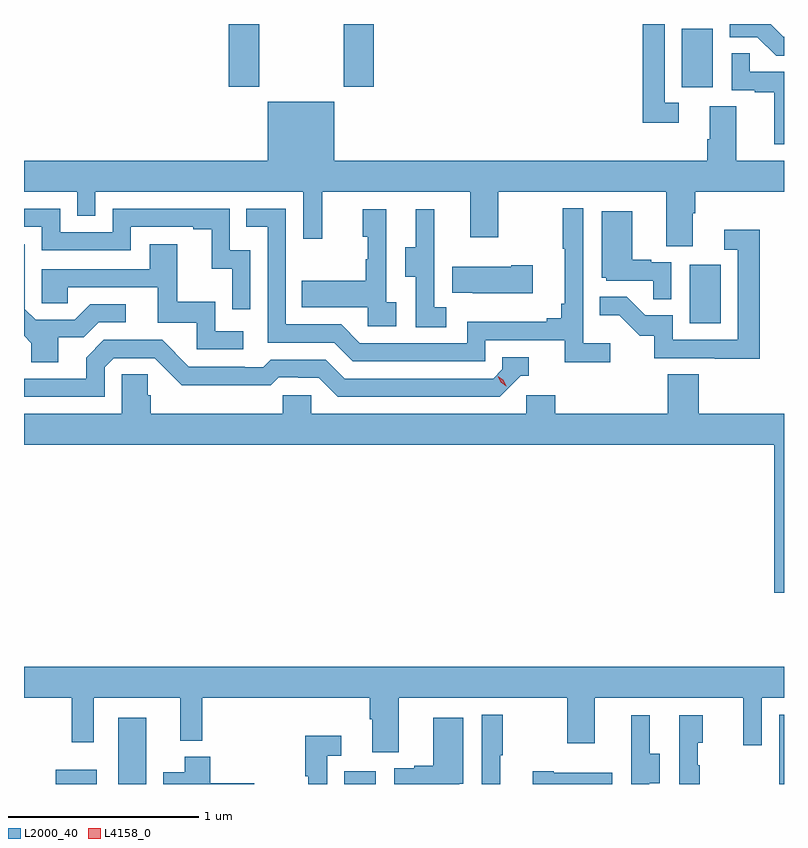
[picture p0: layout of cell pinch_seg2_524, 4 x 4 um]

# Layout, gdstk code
import gdstk
lib = gdstk.Library(unit=1e-6, precision=1e-09)
def R(c, l, rs):  # rectangles x0, y0, x1, y1
    for r in rs: c.add(gdstk.rectangle(r[:2], r[2:], *l))
def P(c, l, *ps):  # polygons
    for p in ps: c.add(gdstk.Polygon(p, *l))
L2000_40 = (2000, 40)
L4158_0 = (4158, 0)

pinch_seg2_524 = lib.new_cell('pinch_seg2_524')
R(pinch_seg2_524, L2000_40, [(982.76,595.235,982.975,595.309), (983.087,595.235,983.236,595.585), (984.278,595.235,984.442,595.303), (986.568,595.235,986.592,595.599), (986.096,597.66,986.26,597.967), (986.054,598.902,986.218,599.209), (983.669,598.905,983.829,599.235), (984.274,598.905,984.434,599.235)])
P(pinch_seg2_524, L2000_40, [(986.592,599.167),(986.589,599.167),(986.521,599.235),(986.307,599.235),(986.307,599.166),(986.452,599.166),(986.55,599.068),(986.592,599.068)],
  [(986.038,598.821),(985.965,598.821),(985.965,599.235),(985.849,599.235),(985.849,598.716),(986.038,598.716)],
  [(986.592,598.983),(986.411,598.983),(986.411,599.081),(986.316,599.081),(986.316,598.887),(986.437,598.887),(986.437,598.875),(986.54,598.875),(986.54,598.601),(986.592,598.601)],
  [(986.113,598.24),(986.126,598.24),(986.126,598.352),(986.592,598.352),(986.592,598.516),(986.341,598.516),(986.341,598.802),(986.201,598.802),(986.201,598.628),(986.189,598.628),(986.189,598.516),(984.226,598.516),(984.226,598.825),(983.876,598.825),(983.876,598.516),(982.592,598.516),(982.592,598.352),(982.872,598.352),(982.872,598.225),(982.968,598.225),(982.968,598.352),(984.063,598.352),(984.063,598.104),(984.161,598.104),(984.161,598.352),(984.941,598.352),(984.941,598.113),(985.089,598.113),(985.089,598.352),(985.973,598.352),(985.973,598.066),(986.113,598.066)],
  [(985.678,597.556),(985.536,597.556),(985.536,598.264),(985.428,598.264),(985.428,598.051),(985.439,598.051),(985.439,597.763),(985.42,597.763),(985.42,597.686),(985.343,597.686),(985.343,597.667),(984.924,597.667),(984.924,597.555),(984.36,597.555),(984.261,597.654),(983.97,597.654),(983.97,598.263),(983.761,598.263),(983.761,598.167),(983.874,598.167),(983.874,597.558),(984.224,597.558),(984.323,597.459),(985.02,597.459),(985.02,597.57),(985.439,597.57),(985.439,597.454),(985.678,597.454)],
  [(983.784,598.044),(983.676,598.044),(983.676,598.263),(983.058,598.263),(983.058,598.14),(982.782,598.14),(982.782,598.263),(982.592,598.263),(982.592,598.167),(982.686,598.167),(982.686,598.044),(983.154,598.044),(983.154,598.167),(983.483,598.167),(983.483,598.155),(983.579,598.155),(983.579,597.947),(983.688,597.947),(983.688,597.735),(983.784,597.735)],
  [(984.814,597.743),(984.75,597.743),(984.75,598.047),(984.752,598.047),(984.752,598.261),(984.653,598.261),(984.653,598.059),(984.599,598.059),(984.599,597.904),(984.654,597.904),(984.654,597.64),(984.814,597.64)],
  [(984.55,597.77),(984.498,597.77),(984.498,598.261),(984.374,598.261),(984.374,598.116),(984.4,598.116),(984.4,597.998),(984.39,597.998),(984.39,597.883),(984.055,597.883),(984.055,597.743),(984.402,597.743),(984.402,597.645),(984.55,597.645)],
  [(985.998,597.981),(985.892,597.981),(985.892,597.994),(985.792,597.994),(985.792,598.249),(985.634,598.249),(985.634,597.9),(985.656,597.9),(985.656,597.885),(985.903,597.885),(985.903,597.787),(985.998,597.787)],
  [(986.465,598.153),(986.277,598.153),(986.277,598.047),(986.349,598.047),(986.349,597.573),(986.007,597.573),(986.007,597.702),(985.863,597.702),(985.765,597.8),(985.621,597.8),(985.621,597.701),(985.725,597.701),(985.832,597.594),(985.909,597.594),(985.909,597.477),(986.227,597.477),(986.227,597.472),(986.465,597.472)],
  [(983.746,597.618),(983.598,597.618),(983.598,597.772),(983.399,597.772),(983.399,598.075),(983.255,598.075),(983.255,597.945),(982.686,597.945),(982.686,597.765),(982.823,597.765),(982.823,597.849),(983.297,597.849),(983.297,597.663),(983.502,597.663),(983.502,597.522),(983.746,597.522)],
  [(982.771,597.586),(982.906,597.586),(982.986,597.666),(983.128,597.666),(983.128,597.759),(982.94,597.759),(982.859,597.678),(982.653,597.678),(982.596,597.735),(982.596,598.075),(982.592,598.075),(982.592,597.595),(982.631,597.556),(982.631,597.454),(982.771,597.454)],
  [(985.27,597.966),(985.157,597.966),(985.157,597.958),(984.847,597.958),(984.847,597.821),(984.955,597.821),(984.955,597.818),(985.27,597.818)],
  [(983.016,597.429),(983.064,597.477),(983.28,597.477),(983.422,597.335),(983.658,597.335),(983.658,597.333),(983.891,597.333),(983.933,597.375),(984.036,597.375),(984.036,597.372),(984.143,597.372),(984.242,597.273),(985.095,597.273),(985.206,597.384),(985.249,597.384),(985.249,597.48),(985.11,597.48),(985.11,597.417),(985.062,597.369),(984.279,597.369),(984.18,597.468),(983.891,597.468),(983.852,597.429),(983.753,597.429),(983.753,597.432),(983.46,597.432),(983.319,597.573),(983.013,597.573),(982.919,597.479),(982.919,597.369),(982.592,597.369),(982.592,597.273),(983.016,597.273)],
  [(986.592,597.184),(986.144,597.184),(986.144,597.392),(985.979,597.392),(985.979,597.184),(985.388,597.184),(985.388,597.282),(985.236,597.282),(985.236,597.184),(984.105,597.184),(984.105,597.282),(983.955,597.282),(983.955,597.184),(983.258,597.184),(983.258,597.282),(983.243,597.282),(983.243,597.392),(983.106,597.392),(983.106,597.184),(982.592,597.184),(982.592,597.02),(986.54,597.02),(986.54,596.241),(986.592,596.241)],
  [(984.565,595.688),(985.45,595.688),(985.45,595.449),(985.597,595.449),(985.597,595.688),(986.378,595.688),(986.378,595.44),(986.475,595.44),(986.475,595.688),(986.592,595.688),(986.592,595.852),(982.592,595.852),(982.592,595.688),(982.843,595.688),(982.843,595.455),(982.959,595.455),(982.959,595.688),(983.414,595.688),(983.414,595.463),(983.531,595.463),(983.531,595.688),(984.413,595.688),(984.413,595.576),(984.425,595.576),(984.425,595.402),(984.565,595.402)],
  [(985.099,595.387),(985.111,595.387),(985.111,595.6),(985.002,595.6),(985.002,595.235),(985.099,595.235)],
  [(985.884,595.24),(985.939,595.24),(985.939,595.395),(985.885,595.395),(985.885,595.597),(985.787,595.597),(985.787,595.383),(985.788,595.383),(985.788,595.235),(985.884,595.235)],
  [(986.149,595.334),(986.139,595.334),(986.139,595.452),(986.164,595.452),(986.164,595.597),(986.04,595.597),(986.04,595.235),(986.149,595.235)],
  [(984.882,595.236),(984.904,595.236),(984.904,595.585),(984.746,595.585),(984.746,595.33),(984.647,595.33),(984.647,595.317),(984.54,595.317),(984.54,595.235),(984.882,595.235)],
  [(984.189,595.383),(984.262,595.383),(984.262,595.489),(984.073,595.489),(984.073,595.276),(984.088,595.276),(984.088,595.235),(984.189,595.235)],
  [(983.803,595.239),(983.573,595.239),(983.573,595.378),(983.438,595.378),(983.438,595.297),(983.324,595.297),(983.324,595.235),(983.803,595.235)],
  [(985.688,595.294),(985.381,595.294),(985.381,595.302),(985.269,595.302),(985.269,595.235),(985.688,595.235)])
P(pinch_seg2_524, L4158_0, [(985.131,597.329),(985.1,597.349),(985.085,597.382),(985.085,597.382),(985.085,597.382),(985.115,597.362),(985.131,597.329),(985.131,597.329)])

lib.write_gds('pinch_seg2_524.gds')
